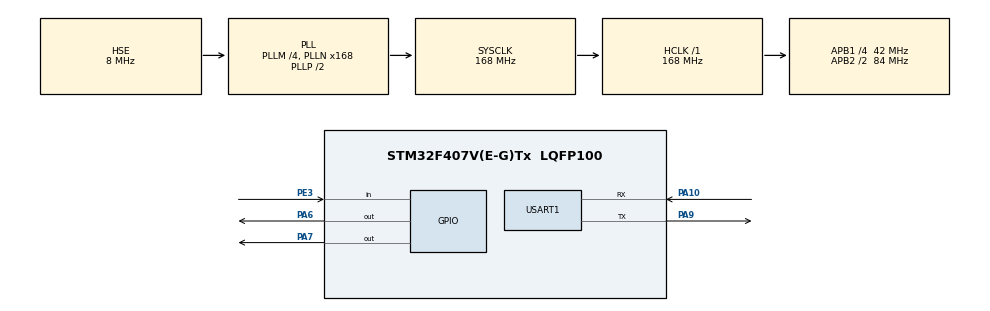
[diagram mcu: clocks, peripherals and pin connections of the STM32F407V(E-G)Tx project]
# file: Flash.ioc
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Mcu.Family=STM32F4
Mcu.Name=STM32F407V(E-G)Tx
Mcu.Package=LQFP100
NVIC.PriorityGroup=NVIC_PRIORITYGROUP_4
NVIC.TIM4_IRQn=true\:0\:0\:false\:false\:true\:true\:true\:true
NVIC.USART1_IRQn=true\:0\:0\:false\:false\:true\:true\:true\:true
PA10.Mode=Asynchronous
PA10.Signal=USART1_RX
PA13.Mode=Serial_Wire
PA13.Signal=SYS_JTMS-SWDIO
PA14.Mode=Serial_Wire
PA14.Signal=SYS_JTCK-SWCLK
PA6.Signal=GPIO_Output
PA7.PinState=GPIO_PIN_SET
PA7.Signal=GPIO_Output
PA9.Mode=Asynchronous
PA9.Signal=USART1_TX
PE3.GPIO_PuPd=GPIO_PULLUP
PE3.Signal=GPIO_Input
PH0-OSC_IN.Mode=HSE-External-Oscillator
PH0-OSC_IN.Signal=RCC_OSC_IN
PH1-OSC_OUT.Mode=HSE-External-Oscillator
PH1-OSC_OUT.Signal=RCC_OSC_OUT
ProjectManager.HeapSize=0x200
ProjectManager.StackSize=0x400
ProjectManager.TargetToolchain=STM32CubeIDE
RCC.48MHZClocksFreq_Value=84000000
RCC.AHBFreq_Value=168000000
RCC.APB1CLKDivider=RCC_HCLK_DIV4
RCC.APB1Freq_Value=42000000
RCC.APB1TimFreq_Value=84000000
RCC.APB2CLKDivider=RCC_HCLK_DIV2
RCC.APB2Freq_Value=84000000
RCC.APB2TimFreq_Value=168000000
RCC.CortexFreq_Value=168000000
RCC.HCLKFreq_Value=168000000
RCC.HSE_VALUE=8000000
RCC.HSI_VALUE=16000000
RCC.LSE_VALUE=32768
RCC.PLLM=4
RCC.PLLN=168
RCC.PLLSourceVirtual=RCC_PLLSOURCE_HSE
RCC.SYSCLKFreq_VALUE=168000000
RCC.SYSCLKSource=RCC_SYSCLKSOURCE_PLLCLK
RCC.VCOOutputFreq_Value=336000000
TIM4.Period=1000
TIM4.Prescaler=41999
USART1.VirtualMode=VM_ASYNC
VP_TIM4_VS_ClockSourceINT.Mode=Internal
board=custom

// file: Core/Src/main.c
/* USER CODE BEGIN Header */
/**
  ******************************************************************************
  * @file           : main.c
  * @brief          : Main program body
  ******************************************************************************
  * @attention
  *
  * Copyright (c) 2025 STMicroelectronics.
  * All rights reserved.
  *
  * This software is licensed under terms that can be found in the LICENSE file
  * in the root directory of this software component.
  * If no LICENSE file comes with this software, it is provided AS-IS.
  *
  ******************************************************************************
  */
/* USER CODE END Header */
#include "main.h"

/* USER CODE BEGIN Includes */
#include <stdio.h>
#include <string.h>
/* USER CODE END Includes */

/* USER CODE BEGIN PTD */
union flashdata {
	uint32_t data_word;
	uint8_t data_bytes[4];
} flashmem_data;
/* USER CODE END PTD */

TIM_HandleTypeDef htim4;

UART_HandleTypeDef huart1;

/* USER CODE BEGIN PV */
FLASH_EraseInitTypeDef FlashErase;
uint8_t RxData[64] = {0x00};
uint8_t rxcount = 0, rxBuf = {0x00};
uint32_t FlashMemAddress = 0x080E0000;
uint32_t SectorError = 0;
/* USER CODE END PV */

void SystemClock_Config(void);
static void MX_GPIO_Init(void);
static void MX_TIM4_Init(void);
static void MX_USART1_UART_Init(void);
/* USER CODE BEGIN PFP */
void init();
void loop();

/* USER CODE END PFP */

/* USER CODE BEGIN 0 */
#ifdef __GNUC__
#define PUTCHAR_PROTOTYPE int __io_putchar(int ch)
#else
#define PUTCHAR_PROTOTYPE int fputc(int ch, FILE *f)
#endif

PUTCHAR_PROTOTYPE
{
  HAL_UART_Transmit(&huart1, (uint8_t *)&ch, 1, 100);
  return ch;
}

void init()
{
	HAL_TIM_Base_Start_IT(&htim4);
	HAL_UART_Receive_IT(&huart1, &rxBuf, 1);

	return;
}

void loop()
{
	if (!HAL_GPIO_ReadPin(GPIOE, GPIO_PIN_3))
	{
		HAL_GPIO_WritePin(GPIOA, GPIO_PIN_7, GPIO_PIN_RESET);
		printf("Deleting flash...\r\n");

		HAL_FLASH_Unlock(); // unlock the flash

		FlashErase.Sector = FLASH_SECTOR_11;
		FlashErase.NbSectors = 1;
		FlashErase.TypeErase = FLASH_TYPEERASE_SECTORS;
		FlashErase.VoltageRange = VOLTAGE_RANGE_3;

		HAL_FLASHEx_Erase(&FlashErase, &SectorError); //The erase function
		printf("Delete status : %08lx \r\n", SectorError);
		sprintf(RxData, "12345678");
		printf("writing data: %s\r\n", RxData);

		FlashMemAddress = 0x080E0000; // Start writing from the 1st address
		rxcount = 8;
		for(int i = 0; i < rxcount; i++)
		{
			HAL_FLASH_Program(FLASH_TYPEPROGRAM_BYTE, FlashMemAddress, RxData[i]);
			FlashMemAddress += 1; // 1 byte increment
		}

		HAL_FLASH_Lock(); //lock the flash

		HAL_Delay(500);
		HAL_GPIO_WritePin(GPIOA, GPIO_PIN_7, GPIO_PIN_SET);
	}
	return;
}

//uint32_t flash_data[4];
// Usage:
//flash_read32(0x08000000, flash_data, 4);
//printf("First 4 word data in flash are:\r\n");
//for (int i = 0; i < 4; ++i)
//{
//  printf("%d -> 0x%x\r\n", i, flash_data[i]);
//}
void flash_read32(uint32_t addrs, uint32_t *rd32, uint32_t len)
{
  //Read data can be accessed straight away
  uint32_t tempAddrs = addrs;

  for(uint32_t i = 0; i < len; ++i)
  {
    rd32[i] = *(__IO uint32_t*) tempAddrs;
    tempAddrs += 4;
  }
}
/* USER CODE END 0 */

int main(void)
{

  /* MCU Configuration--------------------------------------------------------*/

  /* Reset of all peripherals, Initializes the Flash interface and the Systick. */
  HAL_Init();

  /* Configure the system clock */
  SystemClock_Config();

  /* Initialize all configured peripherals */
  MX_GPIO_Init();
  MX_TIM4_Init();
  MX_USART1_UART_Init();
  /* USER CODE BEGIN 2 */
  init();
  /* USER CODE END 2 */

  /* Infinite loop */
  /* USER CODE BEGIN WHILE */
  while (1)
  {
	loop();
    /* USER CODE END WHILE */

  }
}

void SystemClock_Config(void)
{
  RCC_OscInitTypeDef RCC_OscInitStruct = {0};
  RCC_ClkInitTypeDef RCC_ClkInitStruct = {0};

  /** Configure the main internal regulator output voltage
  */
  __HAL_RCC_PWR_CLK_ENABLE();
  __HAL_PWR_VOLTAGESCALING_CONFIG(PWR_REGULATOR_VOLTAGE_SCALE1);

  /** Initializes the RCC Oscillators according to the specified parameters
  * in the RCC_OscInitTypeDef structure.
  */
  RCC_OscInitStruct.OscillatorType = RCC_OSCILLATORTYPE_HSE;
  RCC_OscInitStruct.HSEState = RCC_HSE_ON;
  RCC_OscInitStruct.PLL.PLLState = RCC_PLL_ON;
  RCC_OscInitStruct.PLL.PLLSource = RCC_PLLSOURCE_HSE;
  RCC_OscInitStruct.PLL.PLLM = 4;
  RCC_OscInitStruct.PLL.PLLN = 168;
  RCC_OscInitStruct.PLL.PLLP = RCC_PLLP_DIV2;
  RCC_OscInitStruct.PLL.PLLQ = 4;
  if (HAL_RCC_OscConfig(&RCC_OscInitStruct) != HAL_OK)
  {
    Error_Handler();
  }

  /** Initializes the CPU, AHB and APB buses clocks
  */
  RCC_ClkInitStruct.ClockType = RCC_CLOCKTYPE_HCLK|RCC_CLOCKTYPE_SYSCLK
                              |RCC_CLOCKTYPE_PCLK1|RCC_CLOCKTYPE_PCLK2;
  RCC_ClkInitStruct.SYSCLKSource = RCC_SYSCLKSOURCE_PLLCLK;
  RCC_ClkInitStruct.AHBCLKDivider = RCC_SYSCLK_DIV1;
  RCC_ClkInitStruct.APB1CLKDivider = RCC_HCLK_DIV4;
  RCC_ClkInitStruct.APB2CLKDivider = RCC_HCLK_DIV2;

  if (HAL_RCC_ClockConfig(&RCC_ClkInitStruct, FLASH_LATENCY_5) != HAL_OK)
  {
    Error_Handler();
  }
}

static void MX_TIM4_Init(void)
{

  TIM_ClockConfigTypeDef sClockSourceConfig = {0};
  TIM_MasterConfigTypeDef sMasterConfig = {0};

  htim4.Instance = TIM4;
  htim4.Init.Prescaler = 41999;
  htim4.Init.CounterMode = TIM_COUNTERMODE_UP;
  htim4.Init.Period = 1000;
  htim4.Init.ClockDivision = TIM_CLOCKDIVISION_DIV1;
  htim4.Init.AutoReloadPreload = TIM_AUTORELOAD_PRELOAD_DISABLE;
  if (HAL_TIM_Base_Init(&htim4) != HAL_OK)
  {
    Error_Handler();
  }
  sClockSourceConfig.ClockSource = TIM_CLOCKSOURCE_INTERNAL;
  if (HAL_TIM_ConfigClockSource(&htim4, &sClockSourceConfig) != HAL_OK)
  {
    Error_Handler();
  }
  sMasterConfig.MasterOutputTrigger = TIM_TRGO_RESET;
  sMasterConfig.MasterSlaveMode = TIM_MASTERSLAVEMODE_DISABLE;
  if (HAL_TIMEx_MasterConfigSynchronization(&htim4, &sMasterConfig) != HAL_OK)
  {
    Error_Handler();
  }

}

static void MX_USART1_UART_Init(void)
{

  huart1.Instance = USART1;
  huart1.Init.BaudRate = 115200;
  huart1.Init.WordLength = UART_WORDLENGTH_8B;
  huart1.Init.StopBits = UART_STOPBITS_1;
  huart1.Init.Parity = UART_PARITY_NONE;
  huart1.Init.Mode = UART_MODE_TX_RX;
  huart1.Init.HwFlowCtl = UART_HWCONTROL_NONE;
  huart1.Init.OverSampling = UART_OVERSAMPLING_16;
  if (HAL_UART_Init(&huart1) != HAL_OK)
  {
    Error_Handler();
  }

}

static void MX_GPIO_Init(void)
{
  GPIO_InitTypeDef GPIO_InitStruct = {0};

  /* GPIO Ports Clock Enable */
  __HAL_RCC_GPIOE_CLK_ENABLE();
  __HAL_RCC_GPIOH_CLK_ENABLE();
  __HAL_RCC_GPIOA_CLK_ENABLE();

  /*Configure GPIO pin Output Level */
  HAL_GPIO_WritePin(GPIOA, GPIO_PIN_6, GPIO_PIN_RESET);

  /*Configure GPIO pin Output Level */
  HAL_GPIO_WritePin(GPIOA, GPIO_PIN_7, GPIO_PIN_SET);

  /*Configure GPIO pin : PE3 */
  GPIO_InitStruct.Pin = GPIO_PIN_3;
  GPIO_InitStruct.Mode = GPIO_MODE_INPUT;
  GPIO_InitStruct.Pull = GPIO_PULLUP;
  HAL_GPIO_Init(GPIOE, &GPIO_InitStruct);

  /*Configure GPIO pins : PA6 PA7 */
  GPIO_InitStruct.Pin = GPIO_PIN_6|GPIO_PIN_7;
  GPIO_InitStruct.Mode = GPIO_MODE_OUTPUT_PP;
  GPIO_InitStruct.Pull = GPIO_NOPULL;
  GPIO_InitStruct.Speed = GPIO_SPEED_FREQ_LOW;
  HAL_GPIO_Init(GPIOA, &GPIO_InitStruct);

}

/* USER CODE BEGIN 4 */
void HAL_UART_RxCpltCallback(UART_HandleTypeDef *huart)
{
	HAL_GPIO_TogglePin(GPIOA, GPIO_PIN_6);
	if ((rxBuf == '\n') || (rxcount >= 64)) // keep filling the RxData buffer until carriage return
	{
		printf("Deleting flash...\r\n");

		HAL_FLASH_Unlock(); // unlock the flash

		FlashErase.Sector = FLASH_SECTOR_11;
		FlashErase.NbSectors = 1;
		FlashErase.TypeErase = FLASH_TYPEERASE_SECTORS;
		FlashErase.VoltageRange = VOLTAGE_RANGE_3;

		HAL_FLASHEx_Erase(&FlashErase, &SectorError); //The erase function
		printf("Delete status : %08lx \r\n", SectorError);
		printf("writing data: %s\r\n", RxData);

		FlashMemAddress = 0x080E0000; // Start writing from the 1st address
		for(int i = 0; i < rxcount; i++)
		{
			HAL_FLASH_Program(FLASH_TYPEPROGRAM_BYTE, FlashMemAddress, RxData[i]);
			FlashMemAddress += 1; // 1 byte increment
		}

		HAL_FLASH_Lock(); //lock the flash
		memset(RxData, 0x00, rxcount);
		rxcount = 0;
	}
	else
	{
		RxData[rxcount++] = rxBuf;
	}
	HAL_UART_Receive_IT(&huart1, &rxBuf, 1);
}

void HAL_TIM_PeriodElapsedCallback(TIM_HandleTypeDef *htim)
{
  if (htim->Instance == TIM4)
  {
	HAL_GPIO_TogglePin(GPIOA, GPIO_PIN_6);
  }
}
/* USER CODE END 4 */

void Error_Handler(void)
{
  __disable_irq();
  while (1)
  {
  }
}
